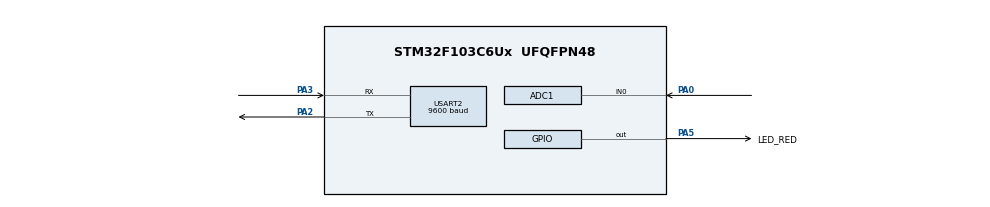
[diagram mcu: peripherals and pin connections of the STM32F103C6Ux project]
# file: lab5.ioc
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ADC1.Channel-0\#ChannelRegularConversion=ADC_CHANNEL_0
ADC1.ContinuousConvMode=ENABLE
ADC1.NbrOfConversionFlag=1
ADC1.Rank-0\#ChannelRegularConversion=1
ADC1.SamplingTime-0\#ChannelRegularConversion=ADC_SAMPLETIME_1CYCLE_5
ADC1.master=1
Mcu.Family=STM32F1
Mcu.Name=STM32F103C6Ux
Mcu.Package=UFQFPN48
NVIC.PriorityGroup=NVIC_PRIORITYGROUP_4
NVIC.USART2_IRQn=true\:0\:0\:false\:false\:true\:true\:true
PA0-WKUP.Signal=ADCx_IN0
PA2.Mode=Asynchronous
PA2.Signal=USART2_TX
PA3.Mode=Asynchronous
PA3.Signal=USART2_RX
PA5.GPIO_Label=LED_RED
PA5.Signal=GPIO_Output
PA6.Signal=S_TIM3_CH1
ProjectManager.HeapSize=0x200
ProjectManager.StackSize=0x400
ProjectManager.TargetToolchain=STM32CubeIDE
RCC.APB1Freq_Value=8000000
RCC.APB2Freq_Value=8000000
SH.ADCx_IN0.0=ADC1_IN0,IN0
SH.S_TIM3_CH1.0=TIM3_CH1
USART2.BaudRate=9600
USART2.VirtualMode=VM_ASYNC
VP_SYS_VS_ND.Mode=No_Debug
board=custom

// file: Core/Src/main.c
/* USER CODE BEGIN Header */
/**
  ******************************************************************************
  * @file           : main.c
  * @brief          : Main program body
  ******************************************************************************
  * @attention
  *
  * <h2><center>&copy; Copyright (c) 2025 STMicroelectronics.
  * All rights reserved.</center></h2>
  *
  * This software component is licensed by ST under BSD 3-Clause license,
  * the "License"; You may not use this file except in compliance with the
  * License. You may obtain a copy of the License at:
  *                        opensource.org/licenses/BSD-3-Clause
  *
  ******************************************************************************
  */
/* USER CODE END Header */
#include "main.h"
#include <stdio.h>
#include <string.h>

ADC_HandleTypeDef hadc1;

UART_HandleTypeDef huart2;

void SystemClock_Config(void);
static void MX_GPIO_Init(void);
static void MX_ADC1_Init(void);
static void MX_USART2_UART_Init(void);

/* USER CODE BEGIN 0 */
uint8_t temp;
uint8_t command[20];
uint8_t cmd_index = 0;
uint32_t ADC_value;
char str[50];
uint8_t flag_send_adc = 0;
uint32_t last_time_send = 0;

void HAL_UART_RxCpltCallback(UART_HandleTypeDef *huart)
{

    if (huart->Instance == USART2)
    {
    	HAL_UART_Transmit(&huart2, &temp, 1, 100);
        if (temp == '!')
        {
            cmd_index = 0;
            command[cmd_index++] = temp;
        }
        else if (temp == '#')
        {
            command[cmd_index++] = temp;
            command[cmd_index] = '\0';

            // Xu ly lenh
            if (strcmp((char*)command, "!RST#") == 0)
                        {
                            flag_send_adc = 1; // Bật cờ để bắt đầu gửi trong while(1)
                        }
                        else if (strcmp((char*)command, "!OK#") == 0)
                        {
                            flag_send_adc = 0; // Tắt cờ để dừng gửi
                        }

            cmd_index = 0;  // reset
        }
        else
        {
            command[cmd_index++] = temp;
            if (cmd_index >= 19) cmd_index = 0;
        }

        HAL_UART_Receive_IT(&huart2, &temp, 1); // next
    }
}

/* USER CODE END 0 */

int main(void)
{

  /* MCU Configuration--------------------------------------------------------*/

  /* Reset of all peripherals, Initializes the Flash interface and the Systick. */
  HAL_Init();

  /* Configure the system clock */
  SystemClock_Config();

  /* Initialize all configured peripherals */
  MX_GPIO_Init();
  MX_ADC1_Init();
  MX_USART2_UART_Init();
  /* USER CODE BEGIN 2 */
  HAL_UART_Receive_IT(&huart2, &temp, 1);
  HAL_ADC_Start(&hadc1);
  /* USER CODE END 2 */

  /* Infinite loop */
  while (1)
  {
	  if (flag_send_adc == 1 && (HAL_GetTick() - last_time_send >= 2000))
	      {
	          ADC_value = HAL_ADC_GetValue(&hadc1);
	          sprintf(str, "!ADC=%lu#\r\n", ADC_value);
	          HAL_UART_Transmit(&huart2, (uint8_t*)str, strlen(str), 100);
	          last_time_send = HAL_GetTick();
	      }
	  HAL_GPIO_TogglePin(LED_RED_GPIO_Port, LED_RED_Pin);
	  HAL_Delay(500);
  }
}

void SystemClock_Config(void)
{
  RCC_OscInitTypeDef RCC_OscInitStruct = {0};
  RCC_ClkInitTypeDef RCC_ClkInitStruct = {0};
  RCC_PeriphCLKInitTypeDef PeriphClkInit = {0};

  /** Initializes the RCC Oscillators according to the specified parameters
  * in the RCC_OscInitTypeDef structure.
  */
  RCC_OscInitStruct.OscillatorType = RCC_OSCILLATORTYPE_HSI;
  RCC_OscInitStruct.HSIState = RCC_HSI_ON;
  RCC_OscInitStruct.HSICalibrationValue = RCC_HSICALIBRATION_DEFAULT;
  RCC_OscInitStruct.PLL.PLLState = RCC_PLL_NONE;
  if (HAL_RCC_OscConfig(&RCC_OscInitStruct) != HAL_OK)
  {
    Error_Handler();
  }
  /** Initializes the CPU, AHB and APB buses clocks
  */
  RCC_ClkInitStruct.ClockType = RCC_CLOCKTYPE_HCLK|RCC_CLOCKTYPE_SYSCLK
                              |RCC_CLOCKTYPE_PCLK1|RCC_CLOCKTYPE_PCLK2;
  RCC_ClkInitStruct.SYSCLKSource = RCC_SYSCLKSOURCE_HSI;
  RCC_ClkInitStruct.AHBCLKDivider = RCC_SYSCLK_DIV1;
  RCC_ClkInitStruct.APB1CLKDivider = RCC_HCLK_DIV1;
  RCC_ClkInitStruct.APB2CLKDivider = RCC_HCLK_DIV1;

  if (HAL_RCC_ClockConfig(&RCC_ClkInitStruct, FLASH_LATENCY_0) != HAL_OK)
  {
    Error_Handler();
  }
  PeriphClkInit.PeriphClockSelection = RCC_PERIPHCLK_ADC;
  PeriphClkInit.AdcClockSelection = RCC_ADCPCLK2_DIV2;
  if (HAL_RCCEx_PeriphCLKConfig(&PeriphClkInit) != HAL_OK)
  {
    Error_Handler();
  }
}

static void MX_ADC1_Init(void)
{

  ADC_ChannelConfTypeDef sConfig = {0};

  /** Common config
  */
  hadc1.Instance = ADC1;
  hadc1.Init.ScanConvMode = ADC_SCAN_DISABLE;
  hadc1.Init.ContinuousConvMode = ENABLE;
  hadc1.Init.DiscontinuousConvMode = DISABLE;
  hadc1.Init.ExternalTrigConv = ADC_SOFTWARE_START;
  hadc1.Init.DataAlign = ADC_DATAALIGN_RIGHT;
  hadc1.Init.NbrOfConversion = 1;
  if (HAL_ADC_Init(&hadc1) != HAL_OK)
  {
    Error_Handler();
  }
  /** Configure Regular Channel
  */
  sConfig.Channel = ADC_CHANNEL_0;
  sConfig.Rank = ADC_REGULAR_RANK_1;
  sConfig.SamplingTime = ADC_SAMPLETIME_1CYCLE_5;
  if (HAL_ADC_ConfigChannel(&hadc1, &sConfig) != HAL_OK)
  {
    Error_Handler();
  }

}

static void MX_USART2_UART_Init(void)
{

  huart2.Instance = USART2;
  huart2.Init.BaudRate = 9600;
  huart2.Init.WordLength = UART_WORDLENGTH_8B;
  huart2.Init.StopBits = UART_STOPBITS_1;
  huart2.Init.Parity = UART_PARITY_NONE;
  huart2.Init.Mode = UART_MODE_TX_RX;
  huart2.Init.HwFlowCtl = UART_HWCONTROL_NONE;
  huart2.Init.OverSampling = UART_OVERSAMPLING_16;
  if (HAL_UART_Init(&huart2) != HAL_OK)
  {
    Error_Handler();
  }

}

static void MX_GPIO_Init(void)
{
  GPIO_InitTypeDef GPIO_InitStruct = {0};

  /* GPIO Ports Clock Enable */
  __HAL_RCC_GPIOA_CLK_ENABLE();

  /*Configure GPIO pin Output Level */
  HAL_GPIO_WritePin(LED_RED_GPIO_Port, LED_RED_Pin, GPIO_PIN_RESET);

  /*Configure GPIO pin : LED_RED_Pin */
  GPIO_InitStruct.Pin = LED_RED_Pin;
  GPIO_InitStruct.Mode = GPIO_MODE_OUTPUT_PP;
  GPIO_InitStruct.Pull = GPIO_NOPULL;
  GPIO_InitStruct.Speed = GPIO_SPEED_FREQ_LOW;
  HAL_GPIO_Init(LED_RED_GPIO_Port, &GPIO_InitStruct);

  /*Configure GPIO pin : PA6 */
  GPIO_InitStruct.Pin = GPIO_PIN_6;
  GPIO_InitStruct.Mode = GPIO_MODE_AF_PP;
  GPIO_InitStruct.Speed = GPIO_SPEED_FREQ_LOW;
  HAL_GPIO_Init(GPIOA, &GPIO_InitStruct);

}

void Error_Handler(void)
{
  __disable_irq();
  while (1)
  {
  }
}

/************************ (C) COPYRIGHT STMicroelectronics *****END OF FILE****/
